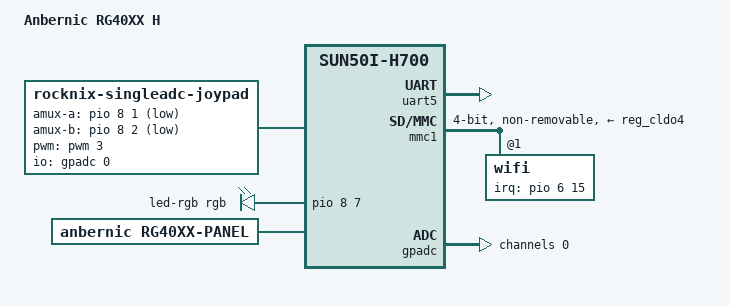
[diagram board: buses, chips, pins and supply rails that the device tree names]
// SPDX-License-Identifier: (GPL-2.0-only OR BSD-2-Clause)
/*
 * Copyright (C) 2024 Philippe Simons <simons.philippe@gmail.com>.
 */
#include "sun50i-h700-anbernic-rg35xx-plus.dts"

/ {
	model = "Anbernic RG40XX H";
	compatible = "anbernic,rg40xx-h", "allwinner,sun50i-h700";
	rocknix-dt-id = "sun50i-h700-anbernic-rg40xx-h";

	joypad: rocknix-singleadc-joypad {
		compatible = "rocknix-singleadc-joypad";
		hw_info = <0x01>;
		joypad-name = "H700 Gamepad";
		joypad-product = <0x14DF>;
		joypad-revision = <0x0100>;
		joypad-vendor = <0x484B>;
		status = "okay";
		pwms = <&pwm 3 1000000 0>;
		pwm-names = "enable";
		rumble-boost-weak = <0>;
		rumble-boost-strong = <0>;
		pinctrl-names = "default";
		pinctrl-0 = <&joy_mux_pin>, <&pwm3_pin>;
		io-channel-names = "amux_adc";
		io-channels = <&gpadc 0>;
		amux-count = <4>;
		amux-channel-mapping = <0 2 1 3>;
		amux-a-gpios = <&pio 8 1 GPIO_ACTIVE_LOW>;
		amux-b-gpios = <&pio 8 2 GPIO_ACTIVE_LOW>;
		button-adc-scale = <36>;
		button-adc-deadzone = <2304>;
		button-adc-fuzz = <32>;
		button-adc-flat = <32>;
		abs_x-p-tuning = <70>;
		abs_x-n-tuning = <70>;
		invert-absx;
		abs_y-p-tuning = <70>;
		abs_y-n-tuning = <70>;
		invert-absy;
		abs_rx-p-tuning = <70>;
		abs_rx-n-tuning = <70>;
		invert-absrx;
		abs_ry-p-tuning = <70>;
		abs_ry-n-tuning = <70>;
		invert-absry;
		poll-interval = <10>;
		sw1 {
			gpios = <&pio 0 6 GPIO_ACTIVE_LOW>;
			label = "GPIO DPAD-UP";
			linux,code = <KEY_RESERVED>;
			rocknix,dpad-hat = <1>;
			gpio-active-low;
		};
		sw2 {
			gpios = <&pio 4 0 GPIO_ACTIVE_LOW>;
			label = "GPIO DPAD-DOWN";
			linux,code = <KEY_RESERVED>;
			rocknix,dpad-hat = <2>;
			gpio-active-low;
		};
		sw3 {
			gpios = <&pio 0 8 GPIO_ACTIVE_LOW>;
			label = "GPIO DPAD-LEFT";
			linux,code = <KEY_RESERVED>;
			rocknix,dpad-hat = <3>;
			gpio-active-low;
		};
		sw4 {
			gpios = <&pio 0 9 GPIO_ACTIVE_LOW>;
			label = "GPIO DPAD-RIGHT";
			linux,code = <KEY_RESERVED>;
			rocknix,dpad-hat = <4>;
			gpio-active-low;
		};
		sw5 {
			gpios = <&pio 0 0 GPIO_ACTIVE_LOW>;
			label = "GPIO BTN-A";
			linux,code = <BTN_EAST>;
		};
		sw6 {
			gpios = <&pio 0 1 GPIO_ACTIVE_LOW>;
			label = "GPIO BTN-B";
			linux,code = <BTN_SOUTH>;
		};
		sw7 {
			gpios = <&pio 0 3 GPIO_ACTIVE_LOW>;
			label = "GPIO BTN-X";
			linux,code = <BTN_WEST>;
		};
		sw8 {
			gpios = <&pio 0 2 GPIO_ACTIVE_LOW>;
			label = "GPIO BTN-Y";
			linux,code = <BTN_NORTH>;
		};
		sw9 {
			gpios = <&pio 0 5 GPIO_ACTIVE_LOW>;
			label = "BTN_SELECT";
			linux,code = <BTN_SELECT>;
		};
		sw10 {
			gpios = <&pio 0 4 GPIO_ACTIVE_LOW>;
			label = "BTN_START";
			linux,code = <BTN_START>;
		};
		sw11 {
			gpios = <&pio 4 3 GPIO_ACTIVE_LOW>;
			label = "GPIO BTN_F";
			linux,code = <BTN_MODE>;
		};
		sw12 {
			gpios = <&pio 4 8 GPIO_ACTIVE_LOW>;
			label = "BTN_THUMBL";
			linux,code = <BTN_THUMBL>;
		};
		sw13 {
			gpios = <&pio 4 9 GPIO_ACTIVE_LOW>;
			label = "BTN_THUMBR";
			linux,code = <BTN_THUMBR>;
		};
		sw14 {
			gpios = <&pio 0 12 GPIO_ACTIVE_LOW>;
			label = "GPIO BTN_TR";
			linux,code = <BTN_TR>;
		};
		sw15 {
			gpios = <&pio 0 7 GPIO_ACTIVE_LOW>;
			label = "GPIO BTN_TR2";
			linux,code = <BTN_TR2>;
		};
		sw16 {
			gpios = <&pio 0 10 GPIO_ACTIVE_LOW>;
			label = "GPIO BTN_TL";
			linux,code = <BTN_TL>;
		};
		sw17 {
			gpios = <&pio 0 11 GPIO_ACTIVE_LOW>;
			label = "GPIO BTN_TL2";
			linux,code = <BTN_TL2>;
		};
	};
};

&uart5 {
	pinctrl-names = "default";
	pinctrl-0 = <&uart5_ph_pins>;
	status = "okay";
};

&leds {
	led-rgb {
		function = LED_FUNCTION_KBD_BACKLIGHT;
		color = <LED_COLOR_ID_RGB>;
		gpios = <&pio 8 7 GPIO_ACTIVE_HIGH>;
	};
};

&panel {
	compatible = "anbernic,rg40xx-panel", "panel-mipi-dpi-spi";
};

&mmc1 {
	vmmc-supply = <&reg_cldo4>;
	vqmmc-supply = <&reg_aldo4>;
	mmc-pwrseq = <&wifi_pwrseq>;
	bus-width = <4>;
	non-removable;
	status = "okay";
	wifi@1 {
		reg = <1>;
		interrupt-parent = <&pio>;
		interrupts = <6 15 IRQ_TYPE_LEVEL_LOW>;
		interrupt-names = "host-wake";
	};
};

&gpadc {
	#address-cells = <1>;
	#size-cells = <0>;
	status = "okay";
	channel@0 {
		reg = <0>;
	};
};
